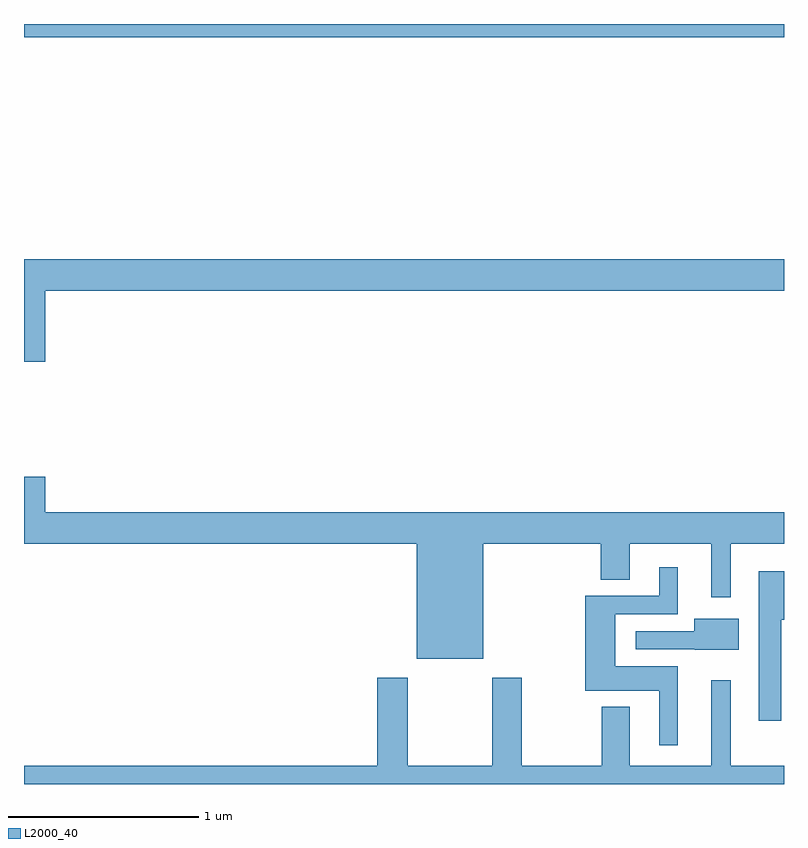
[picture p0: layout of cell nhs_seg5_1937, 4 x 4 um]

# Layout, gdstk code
import gdstk
lib = gdstk.Library(unit=1e-6, precision=1e-09)
def R(c, l, rs):  # rectangles x0, y0, x1, y1
    for r in rs: c.add(gdstk.rectangle(r[:2], r[2:], *l))
def P(c, l, *ps):  # polygons
    for p in ps: c.add(gdstk.Polygon(p, *l))
L2000_40 = (2000, 40)

nhs_seg5_1937 = lib.new_cell('nhs_seg5_1937')
R(nhs_seg5_1937, L2000_40, [(225,888.728,229,888.799)])
P(nhs_seg5_1937, L2000_40, [(225.112,887.396),(229,887.396),(229,887.56),(225,887.56),(225,887.022),(225.112,887.022)],
  [(227.416,886.064),(228.035,886.064),(228.035,885.874),(228.187,885.874),(228.187,886.064),(228.617,886.064),(228.617,885.783),(228.721,885.783),(228.721,886.064),(229,886.064),(229,886.228),(225.112,886.228),(225.112,886.417),(225,886.417),(225,886.064),(227.066,886.064),(227.066,885.458),(227.416,885.458)],
  [(228.442,885.418),(228.112,885.418),(228.112,885.693),(228.442,885.693),(228.442,885.94),(228.344,885.94),(228.344,885.789),(227.954,885.789),(227.954,885.29),(228.344,885.29),(228.344,885.003),(228.442,885.003)],
  [(228.985,885.663),(229,885.663),(229,885.919),(228.866,885.919),(228.866,885.132),(228.985,885.132)],
  [(228.763,885.67),(228.527,885.67),(228.527,885.603),(228.219,885.603),(228.219,885.507),(228.531,885.507),(228.531,885.506),(228.763,885.506)],
  [(229,884.896),(228.721,884.896),(228.721,885.346),(228.617,885.346),(228.617,884.896),(228.187,884.896),(228.187,885.205),(228.04,885.205),(228.04,884.896),(227.619,884.896),(227.619,885.358),(227.464,885.358),(227.464,884.896),(227.019,884.896),(227.019,885.358),(226.859,885.358),(226.859,884.896),(225,884.896),(225,884.799),(229,884.799)])

lib.write_gds('nhs_seg5_1937.gds')
